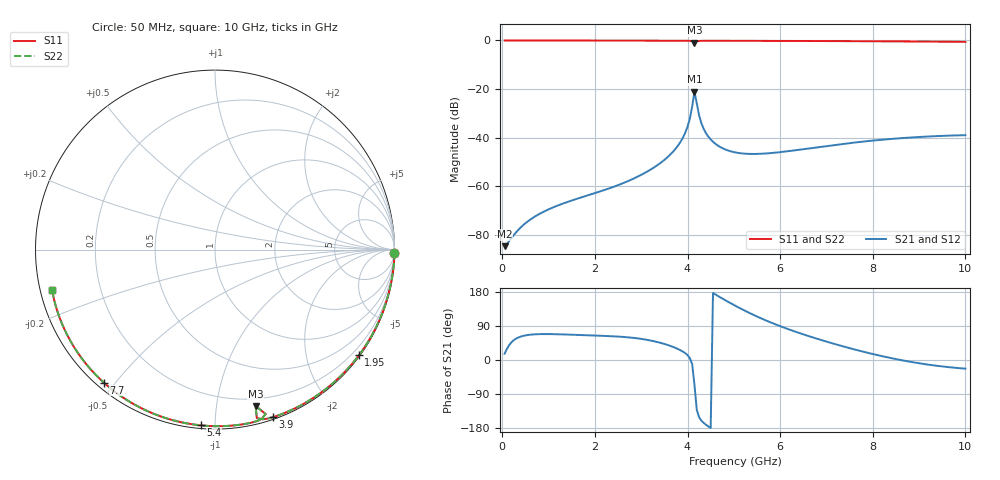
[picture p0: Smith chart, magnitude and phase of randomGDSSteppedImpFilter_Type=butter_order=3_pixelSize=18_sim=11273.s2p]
! freq	dB(S11)	phase(S11)	dB(S12)	phase(S12)
!  dB(S21)	phase(S21)	dB(S22)	phase(S22)
!S-par simulation data
#  GHz  S  DB  R 50
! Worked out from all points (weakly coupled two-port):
!   200 points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, 50 MHz to 10 GHz, reference 50 ohm
!   highest |S21| = -21.12 dB at 4.15 GHz (marker M1); lowest = -84.6 dB at 50 MHz (marker M2)
!   lowest |S11| = -0.9 dB at 4.15 GHz (marker M3), VSWR 18.89, Z = 7.04 - j64.1 ohm
!   |S11| at or under -10 dB: nowhere
!   |S22| runs from -0.9 to 0.0 dB; largest |S21 - S12| = 0
!   S11 on the Smith chart (normalised r, x): 50 MHz: open; 1.95 GHz: 0.03, -3.05; 3.9 GHz: 0.02, -1.40; 5.4 GHz: 0.02, -0.92; 7.7 GHz: 0.02, -0.47; 10 GHz: 0.03, -0.12
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0.05  -0.00 -1.0  -84.61 16.5  -84.61 16.5  -0.00 -1.0
0.25  -0.00 -4.8  -80.00 52.5  -80.00 52.5  -0.00 -4.8
0.5  -0.01 -9.5  -75.17 65.0  -75.17 65.0  -0.01 -9.5
0.8  -0.02 -15.1  -71.35 68.3  -71.35 68.3  -0.02 -15.1
1.75  -0.04 -32.7  -64.29 65.6  -64.29 65.6  -0.04 -32.7
1.95  -0.05 -36.3  -63.09 64.8  -63.09 64.8  -0.05 -36.3
2.8  -0.07 -51.6  -57.13 58.8  -57.13 58.8  -0.07 -51.6
3.4  -0.08 -62.1  -50.61 45.8  -50.61 45.8  -0.08 -62.1
3.7  -0.09 -67.3  -45.48 33.9  -45.48 33.9  -0.09 -67.3
3.9  -0.11 -71.0  -39.98 22.2  -39.98 22.2  -0.11 -71.0
4.05  -0.16 -74.3  -32.16 5.1  -32.16 5.1  -0.16 -74.3
4.15  -0.92 -75.5  -21.12 -65.6  -21.12 -65.6  -0.92 -75.5
4.25  -0.19 -74.6  -30.86 -151.2  -30.86 -151.2  -0.19 -74.6
4.3  -0.15 -75.9  -34.10 -160.1  -34.10 -160.1  -0.15 -75.9
4.45  -0.13 -78.9  -39.57 -175.4  -39.57 -175.4  -0.13 -78.9
4.7  -0.13 -83.3  -43.76 165.8  -43.76 165.8  -0.13 -83.3
5.05  -0.14 -89.0  -46.10 142.0  -46.10 142.0  -0.14 -89.0
5.4  -0.15 -94.6  -46.69 120.4  -46.69 120.4  -0.15 -94.6
6.7  -0.23 -114.8  -44.20 59.7  -44.20 59.7  -0.23 -114.8
7.7  -0.30 -129.9  -41.78 24.8  -41.78 24.8  -0.30 -129.9
8.35  -0.36 -139.8  -40.58 6.2  -40.58 6.2  -0.36 -139.8
10  -0.58 -166.1  -38.95 -22.9  -38.95 -22.9  -0.58 -166.2
